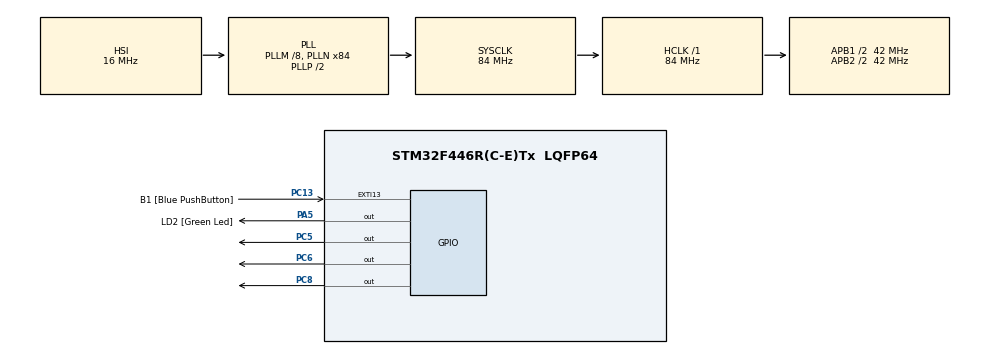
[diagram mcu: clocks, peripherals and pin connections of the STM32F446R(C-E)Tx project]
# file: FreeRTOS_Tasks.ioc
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Mcu.Family=STM32F4
Mcu.Name=STM32F446R(C-E)Tx
Mcu.Package=LQFP64
NVIC.EXTI15_10_IRQn=true\:6\:0\:true\:false\:true\:true\:true\:true
NVIC.PriorityGroup=NVIC_PRIORITYGROUP_4
NVIC.TIM6_DAC_IRQn=true\:15\:0\:true\:false\:true\:false\:true\:true
NVIC.TimeBase=TIM6_DAC_IRQn
NVIC.TimeBaseIP=TIM6
PA13.GPIO_Label=TMS
PA13.Mode=Serial_Wire
PA13.Signal=SYS_JTMS-SWDIO
PA14.GPIO_Label=TCK
PA14.Mode=Serial_Wire
PA14.Signal=SYS_JTCK-SWCLK
PA2.GPIO_Label=USART_TX
PA2.Signal=USART2_TX
PA3.GPIO_Label=USART_RX
PA3.Signal=USART2_RX
PA5.GPIO_Label=LD2 [Green Led]
PA5.Signal=GPIO_Output
PB3.GPIO_Label=SWO
PB3.Signal=SYS_JTDO-SWO
PC13.GPIO_Label=B1 [Blue PushButton]
PC13.GPIO_ModeDefaultEXTI=GPIO_MODE_IT_FALLING
PC13.Signal=GPXTI13
PC14-OSC32_IN.Mode=LSE-External-Oscillator
PC14-OSC32_IN.Signal=RCC_OSC32_IN
PC15-OSC32_OUT.Mode=LSE-External-Oscillator
PC15-OSC32_OUT.Signal=RCC_OSC32_OUT
PC5.Signal=GPIO_Output
PC6.Signal=GPIO_Output
PC8.Signal=GPIO_Output
PH0-OSC_IN.Mode=HSE-External-Oscillator
PH0-OSC_IN.Signal=RCC_OSC_IN
PH1-OSC_OUT.Mode=HSE-External-Oscillator
PH1-OSC_OUT.Signal=RCC_OSC_OUT
ProjectManager.HeapSize=0x200
ProjectManager.StackSize=0x400
ProjectManager.TargetToolchain=STM32CubeIDE
RCC.48MHZClocksFreq_Value=84000000
RCC.AHBFreq_Value=84000000
RCC.APB1CLKDivider=RCC_HCLK_DIV2
RCC.APB1Freq_Value=42000000
RCC.APB1TimFreq_Value=84000000
RCC.APB2CLKDivider=RCC_HCLK_DIV2
RCC.APB2Freq_Value=42000000
RCC.APB2TimFreq_Value=84000000
RCC.CortexFreq_Value=84000000
RCC.FLatency-AdvancedSettings=FLASH_LATENCY_2
RCC.HCLKFreq_Value=84000000
RCC.HSE_VALUE=8000000
RCC.HSI_VALUE=16000000
RCC.PLLM=8
RCC.PLLN=84
RCC.SYSCLKFreq_VALUE=84000000
RCC.SYSCLKSource=RCC_SYSCLKSOURCE_PLLCLK
RCC.USBFreq_Value=84000000
RCC.VCOOutputFreq_Value=168000000
VP_SYS_VS_tim6.Mode=TIM6
board=NUCLEO-F446RE

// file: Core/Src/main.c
/* USER CODE BEGIN Header */
/**
 ******************************************************************************
 * @file           : main.c
 * @brief          : Main program body
 ******************************************************************************
 * @attention
 *
 * Copyright (c) 2024 STMicroelectronics.
 * All rights reserved.
 *
 * This software is licensed under terms that can be found in the LICENSE file
 * in the root directory of this software component.
 * If no LICENSE file comes with this software, it is provided AS-IS.
 *
 ******************************************************************************
 */
/* USER CODE END Header */
#include "main.h"

/* USER CODE BEGIN Includes */

#include "FreeRTOS.h"
#include "task.h"

/* USER CODE END Includes */

/* USER CODE BEGIN PM */

#define DWT_CTRL			*((volatile uint32_t*)0xE0001000)
/* USER CODE END PM */

void SystemClock_Config(void);
static void MX_GPIO_Init(void);
/* USER CODE BEGIN PFP */

void Task1Handler(void* parameters);

void Task2Handler(void* parameters);

void Task3Handler(void* parameters);

void ButtonTaskHandler(void* parameters);

/* USER CODE END PFP */

/* USER CODE BEGIN 0 */
static TaskHandle_t Task1Handle =0 ,Task2Handle = 0 , Task3Handle = 0  , NextTaskHandle = 0;
BaseType_t Local_Statue ;
/* USER CODE END 0 */

int main(void)
{

  /* MCU Configuration--------------------------------------------------------*/

  /* Reset of all peripherals, Initializes the Flash interface and the Systick. */
  HAL_Init();

  /* Configure the system clock */
  SystemClock_Config();

  /* Initialize all configured peripherals */
  MX_GPIO_Init();
  /* USER CODE BEGIN 2 */

	/*Enable CYCLE COUNT REG OF CPU*/

	DWT_CTRL |=1 ;

	/*For SEGGER SYSVIEW TRACE*/

	SEGGER_UART_init(250000);

	/*CONFIG SYSVIEW */
	SEGGER_SYSVIEW_Conf();
	//SEGGER_SYSVIEW_Start();

	Local_Statue= xTaskCreate(Task1Handler, "Task-1", 200, NULL, 2, &Task1Handle);

	configASSERT(Local_Statue == pdPASS);

	Local_Statue= xTaskCreate(Task2Handler, "Task-2", 200, NULL, 2, &Task2Handle);

	configASSERT(Local_Statue == pdPASS);

	Local_Statue= xTaskCreate(Task3Handler, "Task-3", 200, NULL, 2, &Task3Handle);

	configASSERT(Local_Statue == pdPASS);

	NextTaskHandle = Task1Handle ;

	vTaskStartScheduler();

  /* USER CODE END 2 */

  /* Infinite loop */
	while (1)
	{

	}
}

void SystemClock_Config(void)
{
  RCC_OscInitTypeDef RCC_OscInitStruct = {0};
  RCC_ClkInitTypeDef RCC_ClkInitStruct = {0};

  /** Configure the main internal regulator output voltage
  */
  __HAL_RCC_PWR_CLK_ENABLE();
  __HAL_PWR_VOLTAGESCALING_CONFIG(PWR_REGULATOR_VOLTAGE_SCALE3);

  /** Initializes the RCC Oscillators according to the specified parameters
  * in the RCC_OscInitTypeDef structure.
  */
  RCC_OscInitStruct.OscillatorType = RCC_OSCILLATORTYPE_HSI;
  RCC_OscInitStruct.HSIState = RCC_HSI_ON;
  RCC_OscInitStruct.HSICalibrationValue = RCC_HSICALIBRATION_DEFAULT;
  RCC_OscInitStruct.PLL.PLLState = RCC_PLL_ON;
  RCC_OscInitStruct.PLL.PLLSource = RCC_PLLSOURCE_HSI;
  RCC_OscInitStruct.PLL.PLLM = 8;
  RCC_OscInitStruct.PLL.PLLN = 84;
  RCC_OscInitStruct.PLL.PLLP = RCC_PLLP_DIV2;
  RCC_OscInitStruct.PLL.PLLQ = 2;
  RCC_OscInitStruct.PLL.PLLR = 2;
  if (HAL_RCC_OscConfig(&RCC_OscInitStruct) != HAL_OK)
  {
    Error_Handler();
  }

  /** Initializes the CPU, AHB and APB buses clocks
  */
  RCC_ClkInitStruct.ClockType = RCC_CLOCKTYPE_HCLK|RCC_CLOCKTYPE_SYSCLK
                              |RCC_CLOCKTYPE_PCLK1|RCC_CLOCKTYPE_PCLK2;
  RCC_ClkInitStruct.SYSCLKSource = RCC_SYSCLKSOURCE_PLLCLK;
  RCC_ClkInitStruct.AHBCLKDivider = RCC_SYSCLK_DIV1;
  RCC_ClkInitStruct.APB1CLKDivider = RCC_HCLK_DIV2;
  RCC_ClkInitStruct.APB2CLKDivider = RCC_HCLK_DIV2;

  if (HAL_RCC_ClockConfig(&RCC_ClkInitStruct, FLASH_LATENCY_2) != HAL_OK)
  {
    Error_Handler();
  }
}

static void MX_GPIO_Init(void)
{
  GPIO_InitTypeDef GPIO_InitStruct = {0};

  /* GPIO Ports Clock Enable */
  __HAL_RCC_GPIOC_CLK_ENABLE();
  __HAL_RCC_GPIOH_CLK_ENABLE();
  __HAL_RCC_GPIOA_CLK_ENABLE();
  __HAL_RCC_GPIOB_CLK_ENABLE();

  /*Configure GPIO pin Output Level */
  HAL_GPIO_WritePin(LD2_GPIO_Port, LD2_Pin, GPIO_PIN_RESET);

  /*Configure GPIO pin Output Level */
  HAL_GPIO_WritePin(GPIOC, GPIO_PIN_5|GPIO_PIN_6|GPIO_PIN_8, GPIO_PIN_RESET);

  /*Configure GPIO pin : B1_Pin */
  GPIO_InitStruct.Pin = B1_Pin;
  GPIO_InitStruct.Mode = GPIO_MODE_IT_FALLING;
  GPIO_InitStruct.Pull = GPIO_NOPULL;
  HAL_GPIO_Init(B1_GPIO_Port, &GPIO_InitStruct);

  /*Configure GPIO pins : USART_TX_Pin USART_RX_Pin */
  GPIO_InitStruct.Pin = USART_TX_Pin|USART_RX_Pin;
  GPIO_InitStruct.Mode = GPIO_MODE_AF_PP;
  GPIO_InitStruct.Pull = GPIO_NOPULL;
  GPIO_InitStruct.Speed = GPIO_SPEED_FREQ_VERY_HIGH;
  GPIO_InitStruct.Alternate = GPIO_AF7_USART2;
  HAL_GPIO_Init(GPIOA, &GPIO_InitStruct);

  /*Configure GPIO pin : LD2_Pin */
  GPIO_InitStruct.Pin = LD2_Pin;
  GPIO_InitStruct.Mode = GPIO_MODE_OUTPUT_PP;
  GPIO_InitStruct.Pull = GPIO_NOPULL;
  GPIO_InitStruct.Speed = GPIO_SPEED_FREQ_LOW;
  HAL_GPIO_Init(LD2_GPIO_Port, &GPIO_InitStruct);

  /*Configure GPIO pins : PC5 PC6 PC8 */
  GPIO_InitStruct.Pin = GPIO_PIN_5|GPIO_PIN_6|GPIO_PIN_8;
  GPIO_InitStruct.Mode = GPIO_MODE_OUTPUT_PP;
  GPIO_InitStruct.Pull = GPIO_NOPULL;
  GPIO_InitStruct.Speed = GPIO_SPEED_FREQ_LOW;
  HAL_GPIO_Init(GPIOC, &GPIO_InitStruct);

  /* EXTI interrupt init*/
  HAL_NVIC_SetPriority(EXTI15_10_IRQn, 6, 0);
  HAL_NVIC_EnableIRQ(EXTI15_10_IRQn);

}

/* USER CODE BEGIN 4 */
void Task1Handler(void* parameters)
{

	//	char FSting[100];

//	TickType_t  xLastWakeTime = xTaskGetTickCount();

	BaseType_t LocalNotificationStatus ;

	while(1)
	{
		//		snprintf(FSting , 100 , "%s\n",(char*)parameters);
		//		SEGGER_SYSVIEW_PrintfTarget(FSting);
		//		taskYIELD();

		SEGGER_SYSVIEW_PrintfTarget("Toggling Pin 8");
		HAL_GPIO_TogglePin(GPIOC, GPIO_PIN_8);

		/*Delay For 1000ms*/
		//HAL_Delay(1000);
		//vTaskDelay(pdMS_TO_TICKS(1000));

		if ( LocalNotificationStatus = xTaskNotifyWait(0,0,NULL , (pdMS_TO_TICKS(1000))) == pdTRUE )
		{
			/*Enter Now I have Notification*/

			/*Change NextTaskHandle*/

			/*Disable Critical */
			portENTER_CRITICAL();

			NextTaskHandle = Task2Handle ;

			portEXIT_CRITICAL();

			SEGGER_SYSVIEW_PrintfTarget("Delete Pin 1 Task1 Delete");

			HAL_GPIO_WritePin(GPIOC, GPIO_PIN_5, GPIO_PIN_SET);

			vTaskDelete(NULL);

		}
	}

}
void Task2Handler(void* parameters)
{
	//	char FSting[100];

	BaseType_t LocalNotificationStatus ;

//	TickType_t xLastWakeTime = xTaskGetTickCount();
	while(1)
	{

		SEGGER_SYSVIEW_PrintfTarget("Toggling Pin 6");
		HAL_GPIO_TogglePin(GPIOC, GPIO_PIN_6);

		/*Delay For 1000ms*/
		//HAL_Delay(1000);
		//vTaskDelay(pdMS_TO_TICKS(1000));

		if ( LocalNotificationStatus = xTaskNotifyWait(0,0,NULL , (pdMS_TO_TICKS(800))) == pdTRUE )
		{
			/*Enter Now I have Notification*/

			/*Change NextTaskHandle*/

			/*Disable Critical */
			portENTER_CRITICAL();

			NextTaskHandle = Task3Handle ;

			portEXIT_CRITICAL();

			SEGGER_SYSVIEW_PrintfTarget("Delete Pin 2 Task2 Delete");

			HAL_GPIO_WritePin(GPIOC, GPIO_PIN_6, GPIO_PIN_SET);

			vTaskDelete(NULL);

		}

	}

}
void Task3Handler(void* parameters)
{
	//	char FSting[100];

//	TickType_t xLastWakeTime = xTaskGetTickCount();

	BaseType_t LocalNotificationStatus ;

	while(1)
	{

		SEGGER_SYSVIEW_PrintfTarget("Toggling Pin 8");
		HAL_GPIO_TogglePin(GPIOC, GPIO_PIN_5);

		/*Delay For 1000ms*/
		//HAL_Delay(1000);
		//vTaskDelay(pdMS_TO_TICKS(1000));

		if ( LocalNotificationStatus = xTaskNotifyWait(0,0,NULL , (pdMS_TO_TICKS(250))) == pdTRUE )
		{
			/*Enter Now I have Notification*/

			/*Change NextTaskHandle*/

			/*Disable Critical */
			portENTER_CRITICAL();

			NextTaskHandle = NULL ;

			portEXIT_CRITICAL();

			SEGGER_SYSVIEW_PrintfTarget("Delete Pin 3 Task3 Delete");

			HAL_GPIO_WritePin(GPIOC, GPIO_PIN_5, GPIO_PIN_SET);

			vTaskDelete(NULL);

		}

	}

}

void ButtonTaskHandler(void* parameters)
{

		//SEGGER_SYSVIEW_PrintfTarget("Button Task");

		BaseType_t HigherPriorityTaskWoken ;

		traceISR_ENTER();

		xTaskNotifyFromISR(NextTaskHandle , 0 , eNoAction , &HigherPriorityTaskWoken);

		portYIELD_FROM_ISR(HigherPriorityTaskWoken);

		traceISR_EXIT();

}
/* USER CODE END 4 */

void HAL_TIM_PeriodElapsedCallback(TIM_HandleTypeDef *htim)
{
  if (htim->Instance == TIM6) {
    HAL_IncTick();
  }
}

void Error_Handler(void)
{
	__disable_irq();
	while (1)
	{
	}
}
